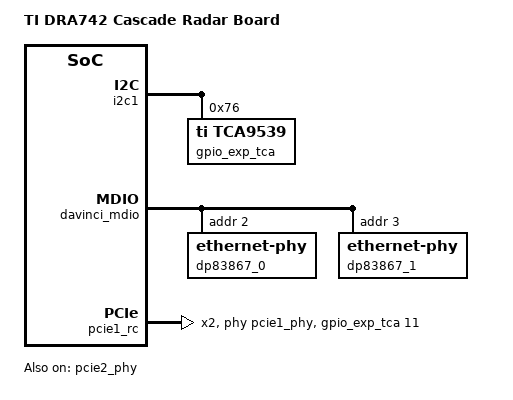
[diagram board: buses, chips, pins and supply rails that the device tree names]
/*
 * Copyright (C) 2013 Texas Instruments Incorporated - http://www.ti.com/
 *
 * This program is free software; you can redistribute it and/or modify
 * it under the terms of the GNU General Public License version 2 as
 * published by the Free Software Foundation.
 */
#include "dra7-evm.dts"
#include <dt-bindings/net/ti-dp83867.h>

/ {
	model = "TI DRA742 Cascade Radar Board";
};

#define DISABLE_PRCM(label) &label { ti,no-idle; ti,no-reset-on-init; }
#define DISABLE_COMPLETE(label) &label { status = "disabled"; ti,no-idle; ti,no-reset-on-init; }
#define LATE_ATTACH(label) &label { ti,late-attach; ti,no-idle; ti,no-reset-on-init; }

/* modules used by BIOS, disable from Linux */
DISABLE_COMPLETE(vip1);
DISABLE_COMPLETE(vip2);
DISABLE_COMPLETE(vip3);
DISABLE_COMPLETE(i2c2);
DISABLE_COMPLETE(wdt2);
DISABLE_COMPLETE(vpe);
DISABLE_COMPLETE(ocmcram1);
DISABLE_COMPLETE(hdmi);
DISABLE_COMPLETE(hdmi0);
DISABLE_COMPLETE(gpio2);
DISABLE_COMPLETE(gpio7);
DISABLE_COMPLETE(gpio5);
DISABLE_COMPLETE(mcspi1);
DISABLE_COMPLETE(mcspi2);
DISABLE_COMPLETE(mcspi3);
DISABLE_COMPLETE(mcspi4);
DISABLE_COMPLETE(mmc4);
DISABLE_COMPLETE(mcasp3);

/* modules shared between BIOS and Linux, Do not reset or cutoff clks */
DISABLE_PRCM(gpio1);
DISABLE_PRCM(gpio4);
DISABLE_PRCM(gpio6);

/* Linux uses first 32 channels, BIOS uses last 32 */
&edma {
	dma-requests = <32>;
};

/* Update the CMA regions for Vision SDK binaries */
&ipu2_memory_region {
	reg = <0x0 0x99000000 0x0 0x5000000>;
};

&dsp1_memory_region {
	reg = <0x0 0xa1000000 0x0 0x2000000>;
};

&ipu1_memory_region {
	reg = <0x0 0x9e000000 0x0 0x2000000>;
};

&dsp2_memory_region {
	reg = <0x0 0xa3000000 0x0 0x2000000>;
};


/* Additional memory regions required for Vision SDK
 * Keep this in sync with VSDK apps/build/tda2xx/mem_segment_definition_linux.xs
 */
&reserved_mem {
	cmem_ocmc: cmem@40300000 {
		compatible = "shared-dma-pool";
		reg = <0x0 0x40300000 0x0 0x300000>;
		sram = <&ocmcram1>;
		no-map;
		status = "okay";
	};

	cmem_pool: cmem@A9000000 {
		compatible = "shared-dma-pool";
		reg = <0x0 0xA9000000 0x0 0x4000000>;
		no-map;
		status = "okay";
	};

	vsdk_sr1_mem: vsdk_sr1_mem@84000000 {
		compatible = "shared-dma-pool";
		reg = <0x0 0x84000000 0x0 0x10000000>;
		status = "okay";
	};

	vsdk_sr0_mem: vsdk_sr0_mem@A0000000 {
		compatible = "shared-dma-pool";
		reg = <0x0 0xA0000000 0x0 0x1000000>;
		status = "okay";
	};

	vsdk_eve_mem: vsdk_eve_mem@A5000000 {
		compatible = "shared-dma-pool";
		reg = <0x0 0xA5000000 0x0 0x4000000>;
		status = "okay";
	};
};

&ipu1 {
	status= "disabled";
	/delete-property/ watchdog-timers;
};

&ipu2 {
	/delete-property/ watchdog-timers;
	timers= <&timer9> , <&timer11>;
};

&dsp1 {
	/delete-property/ watchdog-timers;
};

&dsp2 {
	/delete-property/ watchdog-timers;
};

&evm_3v3_sd {
	/delete-property/ gpio;
};

&i2c1 {
        gpio_exp_tca: tca9539@76 {
                compatible = "ti,tca9539";
                reg = <0x76>;
                gpio-controller;
                #gpio-cells = <2>;
        };

};

&mac {
	mode-gpios = <&gpio_exp_tca 13 GPIO_ACTIVE_LOW>;
};

&davinci_mdio {
	dp83867_0: ethernet-phy@2 {
		reg = <2>;
		ti,rx-internal-delay = <DP83867_RGMIIDCTL_2_25_NS>;
		ti,tx-internal-delay = <DP83867_RGMIIDCTL_250_PS>;
		ti,fifo-depth = <DP83867_PHYCR_FIFO_DEPTH_8_B_NIB>;
		ti,min-output-impedance;
		ti,dp83867-rxctrl-strap-quirk;
	};

	dp83867_1: ethernet-phy@3 {
		reg = <3>;
		ti,rx-internal-delay = <DP83867_RGMIIDCTL_2_25_NS>;
		ti,tx-internal-delay = <DP83867_RGMIIDCTL_250_PS>;
		ti,fifo-depth = <DP83867_PHYCR_FIFO_DEPTH_8_B_NIB>;
		ti,min-output-impedance;
		ti,dp83867-rxctrl-strap-quirk;
	};
};

&pcie2_phy {
	status = "okay";
};

&pcie1_rc {
	num-lanes = <2>;
	phys = <&pcie1_phy>, <&pcie2_phy>;
	phy-names = "pcie-phy0", "pcie-phy1";
	gpios = <&gpio_exp_tca 11 GPIO_ACTIVE_HIGH>;
};

&pcie1_ep {
	gpios = <&gpio_exp_tca 11 GPIO_ACTIVE_HIGH>;
};
